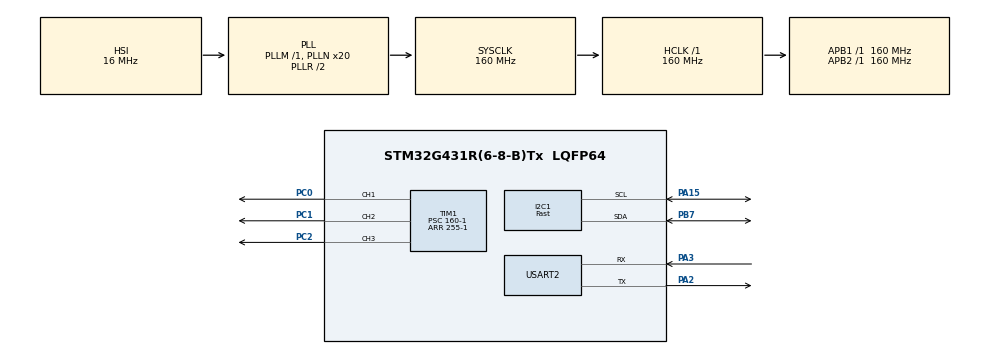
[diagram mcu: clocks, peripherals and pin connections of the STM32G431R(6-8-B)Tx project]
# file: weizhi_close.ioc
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Dma.Request0=USART2_RX
Dma.Request1=USART2_TX
Dma.USART2_RX.0.Direction=DMA_PERIPH_TO_MEMORY
Dma.USART2_RX.0.EventEnable=DISABLE
Dma.USART2_RX.0.Instance=DMA1_Channel1
Dma.USART2_RX.0.MemDataAlignment=DMA_MDATAALIGN_BYTE
Dma.USART2_RX.0.MemInc=DMA_MINC_ENABLE
Dma.USART2_RX.0.Mode=DMA_CIRCULAR
Dma.USART2_RX.0.PeriphDataAlignment=DMA_PDATAALIGN_BYTE
Dma.USART2_RX.0.PeriphInc=DMA_PINC_DISABLE
Dma.USART2_RX.0.Polarity=HAL_DMAMUX_REQ_GEN_RISING
Dma.USART2_RX.0.Priority=DMA_PRIORITY_LOW
Dma.USART2_RX.0.RequestNumber=1
Dma.USART2_RX.0.SignalID=NONE
Dma.USART2_RX.0.SyncEnable=DISABLE
Dma.USART2_RX.0.SyncPolarity=HAL_DMAMUX_SYNC_NO_EVENT
Dma.USART2_RX.0.SyncRequestNumber=1
Dma.USART2_RX.0.SyncSignalID=NONE
Dma.USART2_TX.1.Direction=DMA_MEMORY_TO_PERIPH
Dma.USART2_TX.1.EventEnable=DISABLE
Dma.USART2_TX.1.Instance=DMA1_Channel2
Dma.USART2_TX.1.MemDataAlignment=DMA_MDATAALIGN_BYTE
Dma.USART2_TX.1.MemInc=DMA_MINC_ENABLE
Dma.USART2_TX.1.Mode=DMA_CIRCULAR
Dma.USART2_TX.1.PeriphDataAlignment=DMA_PDATAALIGN_BYTE
Dma.USART2_TX.1.PeriphInc=DMA_PINC_DISABLE
Dma.USART2_TX.1.Polarity=HAL_DMAMUX_REQ_GEN_RISING
Dma.USART2_TX.1.Priority=DMA_PRIORITY_LOW
Dma.USART2_TX.1.RequestNumber=1
Dma.USART2_TX.1.SignalID=NONE
Dma.USART2_TX.1.SyncEnable=DISABLE
Dma.USART2_TX.1.SyncPolarity=HAL_DMAMUX_SYNC_NO_EVENT
Dma.USART2_TX.1.SyncRequestNumber=1
Dma.USART2_TX.1.SyncSignalID=NONE
I2C1.I2C_Speed_Mode=I2C_Fast
I2C1.Timing=0x00F07BFF
Mcu.Family=STM32G4
Mcu.Name=STM32G431R(6-8-B)Tx
Mcu.Package=LQFP64
NVIC.DMA1_Channel1_IRQn=true\:0\:0\:false\:false\:true\:false\:true\:true
NVIC.DMA1_Channel2_IRQn=true\:0\:0\:false\:false\:true\:false\:true\:true
NVIC.PriorityGroup=NVIC_PRIORITYGROUP_4
NVIC.USART2_IRQn=true\:0\:0\:false\:false\:true\:true\:true\:true
PA13.Mode=Serial_Wire
PA13.Signal=SYS_JTMS-SWDIO
PA14.Mode=Serial_Wire
PA14.Signal=SYS_JTCK-SWCLK
PA15.Mode=I2C
PA15.Signal=I2C1_SCL
PA2.Mode=Asynchronous
PA2.Signal=USART2_TX
PA3.Mode=Asynchronous
PA3.Signal=USART2_RX
PB7.Mode=I2C
PB7.Signal=I2C1_SDA
PC0.Signal=S_TIM1_CH1
PC1.Signal=S_TIM1_CH2
PC14-OSC32_IN.Mode=LSE-External-Oscillator
PC14-OSC32_IN.Signal=RCC_OSC32_IN
PC15-OSC32_OUT.Mode=LSE-External-Oscillator
PC15-OSC32_OUT.Signal=RCC_OSC32_OUT
PC2.Signal=S_TIM1_CH3
PF0-OSC_IN.Mode=HSE-External-Oscillator
PF0-OSC_IN.Signal=RCC_OSC_IN
PF1-OSC_OUT.Mode=HSE-External-Oscillator
PF1-OSC_OUT.Signal=RCC_OSC_OUT
ProjectManager.HeapSize=0x200
ProjectManager.StackSize=0x400
ProjectManager.TargetToolchain=MDK-ARM V5.32
RCC.ADC12Freq_Value=160000000
RCC.AHBFreq_Value=160000000
RCC.APB1Freq_Value=160000000
RCC.APB1TimFreq_Value=160000000
RCC.APB2Freq_Value=160000000
RCC.APB2TimFreq_Value=160000000
RCC.CortexFreq_Value=160000000
RCC.EXTERNAL_CLOCK_VALUE=12288000
RCC.HCLKFreq_Value=160000000
RCC.HSE_VALUE=24000000
RCC.HSI48_VALUE=48000000
RCC.HSI_VALUE=16000000
RCC.PLLN=20
RCC.SYSCLKFreq_VALUE=160000000
RCC.SYSCLKSource=RCC_SYSCLKSOURCE_PLLCLK
RCC.USBFreq_Value=160000000
RCC.VCOOutputFreq_Value=320000000
SH.S_TIM1_CH1.0=TIM1_CH1,PWM Generation1 CH1
SH.S_TIM1_CH2.0=TIM1_CH2,PWM Generation2 CH2
SH.S_TIM1_CH3.0=TIM1_CH3,PWM Generation3 CH3
TIM1.AutoReloadPreload=TIM_AUTORELOAD_PRELOAD_ENABLE
TIM1.Channel-PWM\ Generation1\ CH1=TIM_CHANNEL_1
TIM1.Channel-PWM\ Generation2\ CH2=TIM_CHANNEL_2
TIM1.Channel-PWM\ Generation3\ CH3=TIM_CHANNEL_3
TIM1.PeriodNoDither=255-1
TIM1.Prescaler=160-1
TIM1.PulseNoDither_1=15
TIM1.PulseNoDither_2=15
TIM1.PulseNoDither_3=15
USART2.VirtualMode-Asynchronous=VM_ASYNC
VP_SYS_VS_DBSignals.Mode=DisableDeadBatterySignals
VP_TIM1_VS_ClockSourceINT.Mode=Internal
board=custom

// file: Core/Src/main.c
/* USER CODE BEGIN Header */
/**
  ******************************************************************************
  * @file           : main.c
  * @brief          : Main program body
  ******************************************************************************
  * @attention
  *
  * Copyright (c) 2023 STMicroelectronics.
  * All rights reserved.
  *
  * This software is licensed under terms that can be found in the LICENSE file
  * in the root directory of this software component.
  * If no LICENSE file comes with this software, it is provided AS-IS.
  *
  ******************************************************************************
  */
/* USER CODE END Header */
#include "main.h"
#include "dma.h"
#include "i2c.h"
#include "tim.h"
#include "usart.h"
#include "gpio.h"

/* USER CODE BEGIN Includes */
#include <stdint.h>
#include <math.h>
#include "AS5600.h"

/* USER CODE END Includes */

/* USER CODE BEGIN PTD */

float voltage_power_supply=12.6;
float Ualpha,Ubeta=0,Ua=0,Ub=0,Uc=0;
#define _3PI_2 4.71238898038f
float zero_electric_angle=0;
int PP=1,DIR=1;

int Sensor_DIR=-1;    //传感器方向
int Motor_PP=7;    //电机极对数
float motor_target=1;

//初始变量及函数定义
#define _constrain(amt,low,high) ((amt)<(low)?(low):((amt)>(high)?(high):(amt)))
//宏定义实现的一个约束函数,用于限制一个值的范围。
//具体来说，该宏定义的名称为 _constrain，接受三个参数 amt、low 和 high，分别表示要限制的值、最小值和最大值。该宏定义的实现使用了三元运算符，根据 amt 是否小于 low 或大于 high，返回其中的最大或最小值，或者返回原值。
//换句话说，如果 amt 小于 low，则返回 low；如果 amt 大于 high，则返回 high；否则返回 amt。这样，_constrain(amt, low, high) 就会将 amt 约束在 [low, high] 的范围内。1

// 归一化角度到 [0,2PI]
float _normalizeAngle(float angle){
  float a = fmod(angle, 2*PI);   //取余运算可以用于归一化，列出特殊值例子算便知
  return a >= 0 ? a : (a + 2*PI);
  //三目运算符。格式：condition ? expr1 : expr2
  //其中，condition 是要求值的条件表达式，如果条件成立，则返回 expr1 的值，否则返回 expr2 的值。可以将三目运算符视为 if-else 语句的简化形式。
  //fmod 函数的余数的符号与除数相同。因此，当 angle 的值为负数时，余数的符号将与 _2PI 的符号相反。也就是说，如果 angle 的值小于 0 且 _2PI 的值为正数，则 fmod(angle, _2PI) 的余数将为负数。
  //例如，当 angle 的值为 -PI/2，_2PI 的值为 2PI 时，fmod(angle, _2PI) 将返回一个负数。在这种情况下，可以通过将负数的余数加上 _2PI 来将角度归一化到 [0, 2PI] 的范围内，以确保角度的值始终为正数。
}

void setPwm(float Ua, float Ub, float Uc) {
  // 计算占空比
  // 限制占空比从0到1
  float dc_a = _constrain(Ua / voltage_power_supply, 0.0f , 1.0f );
  float dc_b = _constrain(Ub / voltage_power_supply, 0.0f , 1.0f );
  float dc_c = _constrain(Uc / voltage_power_supply, 0.0f , 1.0f );

  // 将占空比映射到定时器的ARR范围内
  uint16_t pwm_a = (uint16_t)(dc_a * (__HAL_TIM_GET_AUTORELOAD(&htim1)));
  uint16_t pwm_b = (uint16_t)(dc_b * (__HAL_TIM_GET_AUTORELOAD(&htim1)));
  uint16_t pwm_c = (uint16_t)(dc_c * (__HAL_TIM_GET_AUTORELOAD(&htim1)));

  // 设置PWM信号
  __HAL_TIM_SET_COMPARE(&htim1, TIM_CHANNEL_1, pwm_a);
  __HAL_TIM_SET_COMPARE(&htim1, TIM_CHANNEL_2, pwm_b);
  __HAL_TIM_SET_COMPARE(&htim1, TIM_CHANNEL_3, pwm_c);
}

void setTorque(float Uq,float angle_el) {
  Uq=_constrain(Uq,-voltage_power_supply/2,voltage_power_supply/2);
  float Ud=0;
  angle_el = _normalizeAngle(angle_el);
  // 帕克逆变换
  Ualpha =  -Uq*sin(angle_el);
  Ubeta =   Uq*cos(angle_el);

  // 克拉克逆变换
  Ua = Ualpha + voltage_power_supply/2;
  Ub = (sqrt(3)*Ubeta-Ualpha)/2 + voltage_power_supply/2;
  Uc = (-Ualpha-sqrt(3)*Ubeta)/2 + voltage_power_supply/2;
  setPwm(Ua,Ub,Uc);
}
//计算电机的电角度，包括了方向、极对数以及可能的偏移校正。这个函数返回规范化后的电角度值。
float _electricalAngle(){
  return  _normalizeAngle((float)(DIR *  PP) * getAngle_Without_track()-zero_electric_angle);
}
//对传感器进行校准，以确定电机的零电角度
void DFOC_alignSensor(int _PP,int _DIR)
{
  PP=_PP;
  DIR=_DIR;
  setTorque(3, _3PI_2);
  HAL_Delay(3000);
  zero_electric_angle=_electricalAngle();
  setTorque(0, _3PI_2);

}
//获取当前电机的角度
float DFOC_M0_Angle()
{
  return getAngle();
}

/* USER CODE END PTD */

void SystemClock_Config(void);

int main(void)
{

  /* MCU Configuration--------------------------------------------------------*/

  /* Reset of all peripherals, Initializes the Flash interface and the Systick. */
  HAL_Init();

  /* Configure the system clock */
  SystemClock_Config();

  /* Initialize all configured peripherals */
  MX_GPIO_Init();
  MX_DMA_Init();
  MX_TIM1_Init();
  MX_USART2_UART_Init();
  MX_I2C1_Init();
  /* USER CODE BEGIN 2 */
  HAL_TIM_PWM_Start(&htim1,TIM_CHANNEL_1);
	HAL_TIM_PWM_Start(&htim1,TIM_CHANNEL_2);
	HAL_TIM_PWM_Start(&htim1,TIM_CHANNEL_3);

  DFOC_alignSensor(Motor_PP,Sensor_DIR);
  /* USER CODE END 2 */

  /* Infinite loop */
  while (1)
  {

    /* USER CODE BEGIN 3 */

		 //输出角度值
  //Serial.print("当前角度：");
  //Serial.println(DFOC_M0_Angle());
  //输出角度值
  float Kp=0.133;
  float Sensor_Angle=DFOC_M0_Angle();
  setTorque(motor_target,_electricalAngle());   //电压力矩
  }
  /* USER CODE END 3 */
}

void SystemClock_Config(void)
{
  RCC_OscInitTypeDef RCC_OscInitStruct = {0};
  RCC_ClkInitTypeDef RCC_ClkInitStruct = {0};

  /** Configure the main internal regulator output voltage
  */
  HAL_PWREx_ControlVoltageScaling(PWR_REGULATOR_VOLTAGE_SCALE1_BOOST);

  /** Initializes the RCC Oscillators according to the specified parameters
  * in the RCC_OscInitTypeDef structure.
  */
  RCC_OscInitStruct.OscillatorType = RCC_OSCILLATORTYPE_HSI;
  RCC_OscInitStruct.HSIState = RCC_HSI_ON;
  RCC_OscInitStruct.HSICalibrationValue = RCC_HSICALIBRATION_DEFAULT;
  RCC_OscInitStruct.PLL.PLLState = RCC_PLL_ON;
  RCC_OscInitStruct.PLL.PLLSource = RCC_PLLSOURCE_HSI;
  RCC_OscInitStruct.PLL.PLLM = RCC_PLLM_DIV1;
  RCC_OscInitStruct.PLL.PLLN = 20;
  RCC_OscInitStruct.PLL.PLLP = RCC_PLLP_DIV2;
  RCC_OscInitStruct.PLL.PLLQ = RCC_PLLQ_DIV2;
  RCC_OscInitStruct.PLL.PLLR = RCC_PLLR_DIV2;
  if (HAL_RCC_OscConfig(&RCC_OscInitStruct) != HAL_OK)
  {
    Error_Handler();
  }

  /** Initializes the CPU, AHB and APB buses clocks
  */
  RCC_ClkInitStruct.ClockType = RCC_CLOCKTYPE_HCLK|RCC_CLOCKTYPE_SYSCLK
                              |RCC_CLOCKTYPE_PCLK1|RCC_CLOCKTYPE_PCLK2;
  RCC_ClkInitStruct.SYSCLKSource = RCC_SYSCLKSOURCE_PLLCLK;
  RCC_ClkInitStruct.AHBCLKDivider = RCC_SYSCLK_DIV1;
  RCC_ClkInitStruct.APB1CLKDivider = RCC_HCLK_DIV1;
  RCC_ClkInitStruct.APB2CLKDivider = RCC_HCLK_DIV1;

  if (HAL_RCC_ClockConfig(&RCC_ClkInitStruct, FLASH_LATENCY_4) != HAL_OK)
  {
    Error_Handler();
  }
}

void Error_Handler(void)
{
  __disable_irq();
  while (1)
  {
  }
}
